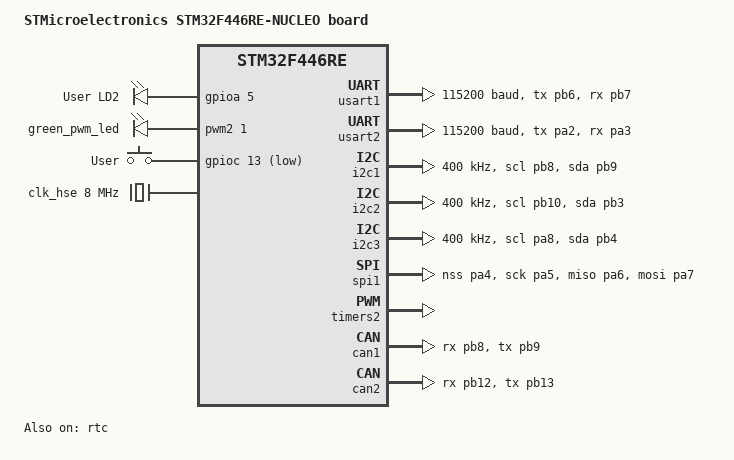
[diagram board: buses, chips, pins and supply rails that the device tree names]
/*
 * Copyright (c) 2018 Philémon Jaermann
 *
 * SPDX-License-Identifier: Apache-2.0
 */

/dts-v1/;
#include <st/f4/stm32f446Xe.dtsi>
#include <st/f4/stm32f446r(c-e)tx-pinctrl.dtsi>
#include "arduino_r3_connector.dtsi"
#include "st_morpho_connector.dtsi"
#include <zephyr/dt-bindings/input/input-event-codes.h>

/ {
	model = "STMicroelectronics STM32F446RE-NUCLEO board";
	compatible = "st,stm32f446re-nucleo";

	chosen {
		zephyr,console = &usart2;
		zephyr,shell-uart = &usart2;
		zephyr,sram = &sram0;
		zephyr,flash = &flash0;
		zephyr,canbus = &can2;
	};

	leds: leds {
		compatible = "gpio-leds";
		green_led_2: led_2 {
			gpios = <&gpioa 5 GPIO_ACTIVE_HIGH>;
			label = "User LD2";
		};
	};

	pwmleds {
		compatible = "pwm-leds";
		green_pwm_led: green_pwm_led {
			pwms = <&pwm2 1 PWM_MSEC(20) PWM_POLARITY_NORMAL>;
		};
	};

	gpio_keys {
		compatible = "gpio-keys";
		user_button: button {
			label = "User";
			gpios = <&gpioc 13 GPIO_ACTIVE_LOW>;
			zephyr,code = <INPUT_KEY_0>;
		};
	};

	aliases {
		led0 = &green_led_2;
		pwm-led0 = &green_pwm_led;
		sw0 = &user_button;
	};
};

&clk_lsi {
	status = "okay";
};

&clk_hse {
	hse-bypass;
	clock-frequency = <DT_FREQ_M(8)>; /* STLink 8MHz clock */
	status = "okay";
};

&pll {
	div-m = <8>;
	mul-n = <384>;
	div-p = <4>;
	div-q = <8>;
	clocks = <&clk_hse>;
	status = "okay";
};

&rcc {
	clocks = <&pll>;
	clock-frequency = <DT_FREQ_M(96)>;
	ahb-prescaler = <1>;
	apb1-prescaler = <2>;
	apb2-prescaler = <1>;
};

&usart1 {
	pinctrl-0 = <&usart1_tx_pb6 &usart1_rx_pb7>;
	pinctrl-names = "default";
	current-speed = <115200>;
	status = "okay";
};

&usart2 {
	pinctrl-0 = <&usart2_tx_pa2 &usart2_rx_pa3>;
	pinctrl-names = "default";
	current-speed = <115200>;
	status = "okay";
};

&i2c1 {
	pinctrl-0 = <&i2c1_scl_pb8 &i2c1_sda_pb9>;
	pinctrl-names = "default";
	status = "okay";
	clock-frequency = <I2C_BITRATE_FAST>;
};

&i2c2 {
	pinctrl-0 = <&i2c2_scl_pb10 &i2c2_sda_pb3>;
	pinctrl-names = "default";
	status = "okay";
	clock-frequency = <I2C_BITRATE_FAST>;
};

&i2c3 {
	pinctrl-0 = <&i2c3_scl_pa8 &i2c3_sda_pb4>;
	pinctrl-names = "default";
	status = "okay";
	clock-frequency = <I2C_BITRATE_FAST>;
};

&spi1 {
	pinctrl-0 = <&spi1_nss_pa4 &spi1_sck_pa5
		     &spi1_miso_pa6 &spi1_mosi_pa7>;
	pinctrl-names = "default";
	status = "okay";
};

&timers2 {
	status = "okay";

	pwm2: pwm {
		status = "okay";
		pinctrl-0 = <&tim2_ch1_pa5>;
		pinctrl-names = "default";
	};
};

&rtc {
	clocks = <&rcc STM32_CLOCK_BUS_APB1 0x10000000>,
		 <&rcc STM32_SRC_LSI RTC_SEL(2)>;
	status = "okay";
};

&backup_sram {
	status = "okay";
};

&can1 {
	/* CAUTION: PB8 and PB9 may conflict with same pins of I2C1 */
	pinctrl-0 = <&can1_rx_pb8 &can1_tx_pb9>;
	pinctrl-names = "default";
	status = "okay";
};

&can2 {
	pinctrl-0 = <&can2_rx_pb12 &can2_tx_pb13>;
	pinctrl-names = "default";
	status = "okay";
};

&flash0 {

	partitions {
		compatible = "fixed-partitions";
		#address-cells = <1>;
		#size-cells = <1>;

		boot_partition: partition@0 {
			label = "mcuboot";
			reg = <0x00000000 DT_SIZE_K(64)>;
			read-only;
		};

		/*
		 * The flash starting at 0x00010000 and ending at
		 * 0x0001ffff (sectors 16-31) is reserved for use
		 * by the application.
		 */
		storage_partition: partition@10000 {
			label = "storage";
			reg = <0x00010000 DT_SIZE_K(64)>;
		};

		slot0_partition: partition@20000 {
			label = "image-0";
			reg = <0x00020000 DT_SIZE_K(128)>;
		};
		slot1_partition: partition@40000 {
			label = "image-1";
			reg = <0x00040000 DT_SIZE_K(128)>;
		};
		scratch_partition: partition@60000 {
			label = "image-scratch";
			reg = <0x00060000 DT_SIZE_K(128)>;
		};
	};
};
